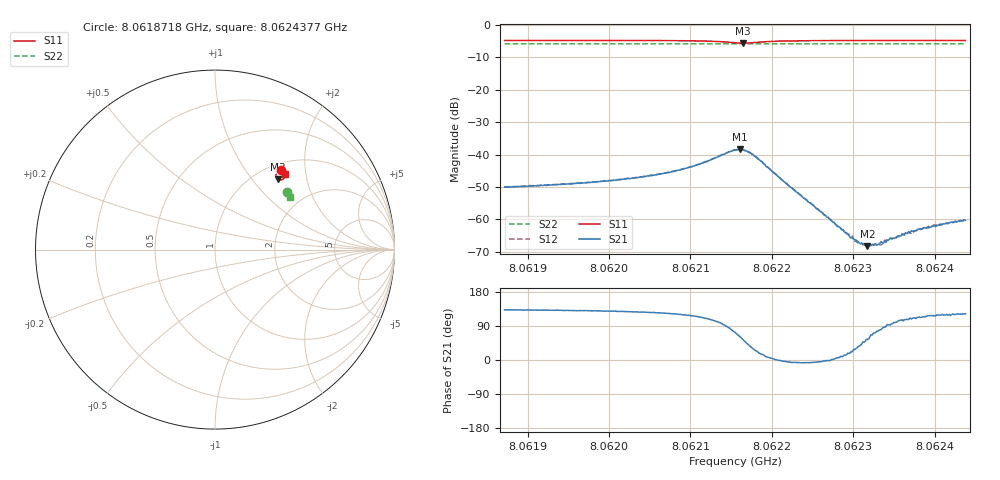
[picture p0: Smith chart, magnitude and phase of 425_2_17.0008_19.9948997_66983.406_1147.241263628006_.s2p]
#  HZ  S  RI  R  50.00
! Rohde & Schwarz Vector Network Analyzer
! Rohde-Schwarz,ZNB20-2Port,1311601062101988,3.16
! Created: UTC 3/20/2024, 11:11:07 PM
! freq[Hz]  re:S11  im:S11  re:S21  im:S21  re:S12  im:S12  re:S22  im:S22
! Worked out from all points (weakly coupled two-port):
!   401 points, 8.0618718 GHz to 8.0624377 GHz, reference 50 ohm
!   highest |S21| = -38.43 dB at 8.0621604 GHz (marker M1); lowest = -68.3 dB at 8.0623174 GHz (marker M2)
!   lowest |S11| = -5.6 dB at 8.0621647 GHz (marker M3), VSWR 3.21, Z = 62.6 + j67.8 ohm
!   |S11| at or under -10 dB: nowhere
!   |S22| runs from -5.9 to -5.8 dB; largest |S21 - S12| = 0.00081
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8.06187184e9  0.3687 0.4426  -0.00212 0.00233  -0.00197 0.00246  0.4001 0.3192
8.06196661e9  0.3756 0.4363  -0.00235 0.00278  -0.00223 0.00298  0.4038 0.3145
8.06200481e9  0.3787 0.4333  -0.0025 0.00313  -0.00232 0.00331  0.4052 0.3126
8.06206139e9  0.3836 0.4265  -0.0028 0.00409  -0.00262 0.00431  0.4072 0.3096
8.06210241e9  0.3875 0.4167  -0.00293 0.00587  -0.00261 0.00606  0.4088 0.3071
8.06215475e9  0.3647 0.3872  0.0034 0.0112  0.00422 0.0111  0.4091 0.3036
8.06216041e9  0.3551 0.3888  0.00555 0.0106  0.00615 0.0103  0.4089 0.3035
8.06216465e9  0.3484 0.3925  0.00696 0.00947  0.00766 0.00913  0.4087 0.3037
8.06217031e9  0.3421 0.4004  0.00819 0.00742  0.00876 0.00707  0.4088 0.3038
8.0621788e9  0.3397 0.4141  0.00835 0.00418  0.00889 0.00386  0.409 0.304
8.0622184e9  0.3616 0.4354  0.00348 -0.000294  0.00352 -0.000493  0.4118 0.3028
8.06224952e9  0.3716 0.4347  0.00167 -0.000196  0.00168 -0.000294  0.4132 0.3012
8.06229903e9  0.3798 0.4312  0.000481 0.000197  0.00052 0.000185  0.4153 0.2985
8.06231035e9  0.3813 0.4304  0.000324 0.000291  0.000347 0.000257  0.4155 0.2977
8.06231742e9  0.3819 0.4298  0.000221 0.000317  0.00026 0.000327  0.4159 0.2976
8.06232874e9  0.3832 0.4292  9.77e-05 0.000386  0.000136 0.000401  0.4165 0.2969
8.06233298e9  0.3835 0.4289  8.02e-05 0.000425  3.94e-05 0.000402  0.4164 0.2967
8.0623443e9  0.3847 0.4281  -2.79e-05 0.000496  -1.01e-05 0.000485  0.4169 0.296
8.06236552e9  0.3865 0.4267  -0.000184 0.000577  -0.000141 0.000592  0.4177 0.2949
8.06237118e9  0.3869 0.4265  -0.000213 0.000635  -0.000162 0.000592  0.4178 0.2946
8.06238957e9  0.3885 0.4254  -0.000314 0.000654  -0.000318 0.000671  0.4184 0.2938
8.06243766e9  0.3918 0.4225  -0.000512 0.000824  -0.00044 0.000865  0.4201 0.2913
